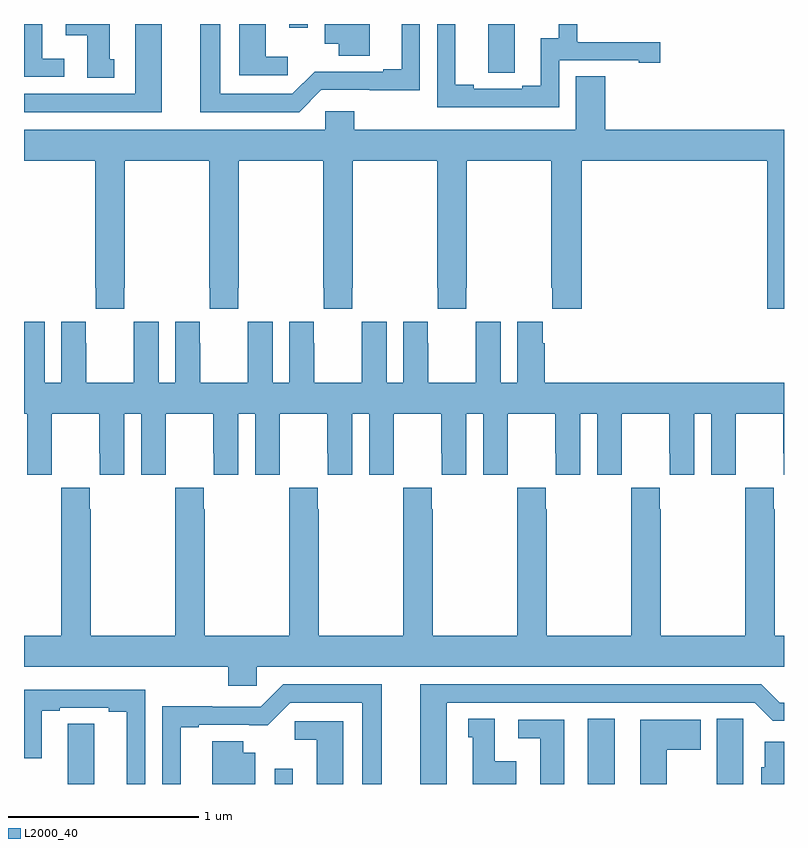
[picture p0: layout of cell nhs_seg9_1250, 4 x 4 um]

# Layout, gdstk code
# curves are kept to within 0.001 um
import gdstk
lib = gdstk.Library(unit=1e-6, precision=1e-09)
def R(c, l, rs):  # rectangles x0, y0, x1, y1
    for r in rs: c.add(gdstk.rectangle(r[:2], r[2:], *l))
def P(c, l, *ps):  # polygons
    for p in ps: c.add(gdstk.Polygon(p, *l))
L2000_40 = (2000, 40)

nhs_seg9_1250 = lib.new_cell('nhs_seg9_1250')
R(nhs_seg9_1250, L2000_40, [(182.319,1166.5,182.415,1166.581), (183.968,1166.5,184.108,1166.843), (182.397,1170.48,182.493,1170.5)])
P(nhs_seg9_1250, L2000_40, [(181.474,1170.315),(181.45,1170.315),(181.45,1170.5),(181.22,1170.5),(181.22,1170.44),(181.334,1170.44),(181.334,1170.217),(181.474,1170.217)],
  [(182.565,1170.153),(183.084,1170.152),(183.084,1170.5),(182.987,1170.5),(182.987,1170.262),(182.891,1170.262),(182.891,1170.249),(182.53,1170.25),(182.412,1170.132),(182.032,1170.132),(182.032,1170.5),(181.928,1170.5),(181.928,1170.036),(182.448,1170.036)],
  [(181.213,1170.318),(181.096,1170.318),(181.096,1170.5),(181,1170.5),(181,1170.222),(181.213,1170.222)],
  [(183.582,1170.352),(183.583,1170.352),(183.583,1170.5),(183.443,1170.5),(183.443,1170.244),(183.582,1170.244)],
  [(182.389,1170.328),(182.272,1170.328),(182.272,1170.5),(182.132,1170.5),(182.132,1170.231),(182.389,1170.231)],
  [(181.726,1170.5),(181.586,1170.5),(181.586,1170.132),(181,1170.132),(181,1170.036),(181.726,1170.036)],
  [(182.821,1170.5),(182.582,1170.5),(182.582,1170.395),(182.657,1170.395),(182.657,1170.334),(182.821,1170.334)],
  [(183.816,1170.309),(184.235,1170.309),(184.235,1170.297),(184.348,1170.297),(184.348,1170.405),(183.914,1170.405),(183.914,1170.406),(183.912,1170.406),(183.912,1170.5),(183.814,1170.5),(183.814,1170.425),(183.719,1170.425),(183.719,1170.174),(183.623,1170.174),(183.623,1170.159),(183.367,1170.159),(183.367,1170.179),(183.271,1170.179),(183.271,1170.5),(183.174,1170.5),(183.174,1170.063),(183.816,1170.063)],
  [(181.527,1169.113),(181.53,1169.113),(181.53,1169.78),(181.975,1169.78),(181.975,1169.113),(181.977,1169.113),(181.977,1169.001),(182.127,1169.001),(182.127,1169.113),(182.13,1169.113),(182.13,1169.78),(182.575,1169.78),(182.575,1169.113),(182.577,1169.113),(182.577,1169.001),(182.727,1169.001),(182.727,1169.113),(182.73,1169.113),(182.73,1169.78),(183.175,1169.78),(183.175,1169.113),(183.177,1169.113),(183.177,1169.001),(183.327,1169.001),(183.327,1169.113),(183.33,1169.113),(183.33,1169.78),(183.775,1169.78),(183.775,1169.113),(183.781,1169.113),(183.781,1169.001),(183.935,1169.001),(183.935,1169.78),(184.913,1169.78),(184.913,1169.001),(185,1169.001),(185,1169.944),(184.058,1169.944),(184.058,1170.224),(183.905,1170.224),(183.905,1169.944),(182.738,1169.944),(182.738,1170.042),(182.586,1170.042),(182.586,1169.944),(181,1169.944),(181,1169.78),(181.375,1169.78),(181.375,1169.113),(181.377,1169.113),(181.377,1169.001),(181.527,1169.001)],
  [(181.146,1168.24),(181.147,1168.24),(181.147,1168.448),(181.397,1168.448),(181.397,1168.24),(181.398,1168.24),(181.398,1168.128),(181.528,1168.128),(181.528,1168.448),(181.616,1168.448),(181.616,1168.128),(181.746,1168.128),(181.746,1168.24),(181.747,1168.24),(181.747,1168.448),(181.997,1168.448),(181.997,1168.24),(181.998,1168.24),(181.998,1168.128),(182.128,1168.128),(182.128,1168.448),(182.216,1168.448),(182.216,1168.128),(182.346,1168.128),(182.346,1168.24),(182.347,1168.24),(182.347,1168.448),(182.597,1168.448),(182.597,1168.24),(182.598,1168.24),(182.598,1168.128),(182.728,1168.128),(182.728,1168.448),(182.816,1168.448),(182.816,1168.128),(182.946,1168.128),(182.946,1168.24),(182.947,1168.24),(182.947,1168.448),(183.197,1168.448),(183.197,1168.24),(183.198,1168.24),(183.198,1168.128),(183.328,1168.128),(183.328,1168.448),(183.416,1168.448),(183.416,1168.128),(183.546,1168.128),(183.546,1168.24),(183.547,1168.24),(183.547,1168.448),(183.797,1168.448),(183.797,1168.24),(183.798,1168.24),(183.798,1168.128),(183.928,1168.128),(183.928,1168.448),(184.016,1168.448),(184.016,1168.128),(184.146,1168.128),(184.146,1168.24),(184.147,1168.24),(184.147,1168.448),(184.397,1168.448),(184.397,1168.24),(184.398,1168.24),(184.398,1168.128),(184.528,1168.128),(184.528,1168.448),(184.616,1168.448),(184.616,1168.128),(184.746,1168.128),(184.746,1168.24),(184.747,1168.24),(184.747,1168.448),(184.997,1168.448),(184.997,1168.24),(184.998,1168.24),(184.998,1168.128),(185,1168.128),(185,1168.612),(183.74,1168.612),(183.74,1168.82),(183.73,1168.82),(183.73,1168.933),(183.596,1168.933),(183.596,1168.612),(183.508,1168.612),(183.508,1168.933),(183.378,1168.933),(183.378,1168.82),(183.377,1168.82),(183.377,1168.612),(183.127,1168.612),(183.127,1168.82),(183.126,1168.82),(183.126,1168.933),(182.996,1168.933),(182.996,1168.612),(182.908,1168.612),(182.908,1168.933),(182.778,1168.933),(182.778,1168.82),(182.777,1168.82),(182.777,1168.612),(182.527,1168.612),(182.527,1168.82),(182.526,1168.82),(182.526,1168.933),(182.396,1168.933),(182.396,1168.612),(182.308,1168.612),(182.308,1168.933),(182.178,1168.933),(182.178,1168.82),(182.177,1168.82),(182.177,1168.612),(181.927,1168.612),(181.927,1168.82),(181.926,1168.82),(181.926,1168.933),(181.796,1168.933),(181.796,1168.612),(181.708,1168.612),(181.708,1168.933),(181.578,1168.933),(181.578,1168.82),(181.577,1168.82),(181.577,1168.612),(181.327,1168.612),(181.327,1168.82),(181.326,1168.82),(181.326,1168.933),(181.196,1168.933),(181.196,1168.612),(181.108,1168.612),(181.108,1168.933),(181,1168.933),(181,1168.448),(181.016,1168.448),(181.016,1168.128),(181.146,1168.128)],
  [(181.197,1168.06),(181.197,1167.947),(181.195,1167.947),(181.195,1167.28),(181,1167.28),(181,1167.116),(182.075,1167.116),(182.075,1167.018),(182.226,1167.018),(182.226,1167.116),(185,1167.116),(185,1167.28),(184.95,1167.28),(184.95,1167.947),(184.947,1167.947),(184.947,1168.06),(184.797,1168.06),(184.797,1167.947),(184.795,1167.947),(184.795,1167.28),(184.35,1167.28),(184.35,1167.947),(184.347,1167.947),(184.347,1168.06),(184.197,1168.06),(184.197,1167.947),(184.195,1167.947),(184.195,1167.28),(183.75,1167.28),(183.75,1167.947),(183.747,1167.947),(183.747,1168.06),(183.597,1168.06),(183.597,1167.947),(183.595,1167.947),(183.595,1167.28),(183.15,1167.28),(183.15,1167.947),(183.147,1167.947),(183.147,1168.06),(182.997,1168.06),(182.997,1167.947),(182.995,1167.947),(182.995,1167.28),(182.55,1167.28),(182.55,1167.947),(182.547,1167.947),(182.547,1168.06),(182.397,1168.06),(182.397,1167.947),(182.395,1167.947),(182.395,1167.28),(181.95,1167.28),(181.95,1167.947),(181.947,1167.947),(181.947,1168.06),(181.797,1168.06),(181.797,1167.947),(181.795,1167.947),(181.795,1167.28),(181.35,1167.28),(181.35,1167.947),(181.347,1167.947),(181.347,1168.06)],
  [(183.226,1166.928),(184.845,1166.928),(184.941,1166.832),(185,1166.832),(185,1166.928),(184.977,1166.928),(184.881,1167.024),(183.086,1167.024),(183.086,1166.5),(183.226,1166.5)],
  [(181.825,1166.799),(181.921,1166.799),(181.921,1166.811),(182.282,1166.81),(182.4,1166.928),(182.78,1166.928),(182.78,1166.5),(182.884,1166.5),(182.884,1167.024),(182.364,1167.024),(182.247,1166.907),(181.991,1166.907),(181.991,1166.909),(181.728,1166.909),(181.728,1166.5),(181.825,1166.5)],
  [(181.638,1166.997),(181,1166.997),(181,1166.635),(181.093,1166.635),(181.093,1166.886),(181.189,1166.886),(181.189,1166.901),(181.445,1166.901),(181.445,1166.881),(181.541,1166.881),(181.541,1166.5),(181.638,1166.5)],
  [(184.786,1166.732),(184.785,1166.732),(184.785,1166.843),(184.646,1166.843),(184.646,1166.5),(184.786,1166.5)],
  [(183.592,1166.62),(183.478,1166.62),(183.478,1166.843),(183.338,1166.843),(183.338,1166.745),(183.362,1166.745),(183.362,1166.5),(183.592,1166.5)],
  [(184.384,1166.68),(184.561,1166.68),(184.561,1166.839),(184.244,1166.839),(184.244,1166.5),(184.384,1166.5)],
  [(183.844,1166.838),(183.6,1166.838),(183.6,1166.742),(183.716,1166.742),(183.716,1166.5),(183.844,1166.5)],
  [(182.68,1166.829),(182.424,1166.829),(182.424,1166.732),(182.54,1166.732),(182.54,1166.5),(182.68,1166.5)],
  [(181.369,1166.816),(181.23,1166.816),(181.23,1166.708),(181.229,1166.708),(181.229,1166.5),(181.369,1166.5)],
  [(182.218,1166.665),(182.155,1166.665),(182.155,1166.726),(181.991,1166.726),(181.991,1166.5),(182.218,1166.5)],
  [(185,1166.722),(184.898,1166.722),(184.898,1166.589),(184.88,1166.589),(184.88,1166.5),(185,1166.5)])

lib.write_gds('nhs_seg9_1250.gds')
